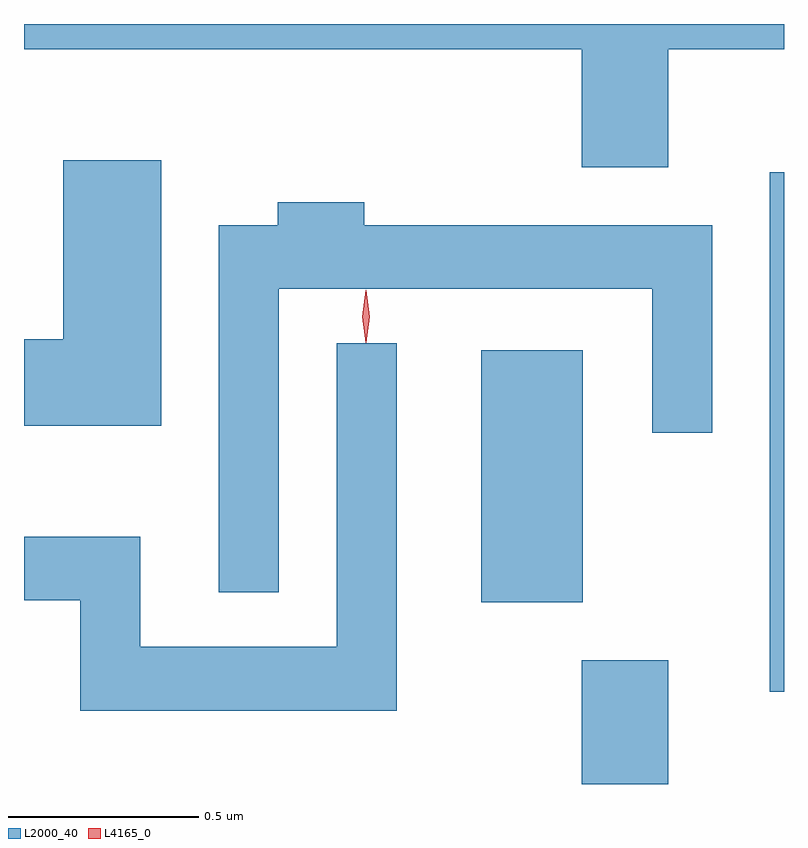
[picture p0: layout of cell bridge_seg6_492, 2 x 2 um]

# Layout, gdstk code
import gdstk
lib = gdstk.Library(unit=1e-6, precision=1e-09)
def R(c, l, rs):  # rectangles x0, y0, x1, y1
    for r in rs: c.add(gdstk.rectangle(r[:2], r[2:], *l))
def P(c, l, *ps):  # polygons
    for p in ps: c.add(gdstk.Polygon(p, *l))
L2000_40 = (2000, 40)
L4165_0 = (4165, 0)

bridge_seg6_492 = lib.new_cell('bridge_seg6_492')
R(bridge_seg6_492, L2000_40, [(702.811,1532.563,703.039,1532.889), (703.306,1532.806,703.343,1534.173), (702.546,1533.041,702.814,1533.704)])
P(bridge_seg6_492, L2000_40, [(703.039,1534.496),(703.343,1534.496),(703.343,1534.563),(701.343,1534.563),(701.343,1534.496),(702.811,1534.496),(702.811,1534.186),(703.039,1534.186)],
  [(701.704,1534.204),(701.446,1534.204),(701.446,1533.734),(701.343,1533.734),(701.343,1533.506),(701.704,1533.506)],
  [(702.014,1533.866),(702.996,1533.866),(702.996,1533.488),(703.154,1533.488),(703.154,1534.034),(702.239,1534.034),(702.239,1534.094),(702.011,1534.094),(702.011,1534.034),(701.856,1534.034),(701.856,1533.068),(702.014,1533.068)],
  [(702.324,1533.723),(702.166,1533.723),(702.166,1532.924),(701.649,1532.924),(701.649,1533.214),(701.343,1533.214),(701.343,1533.046),(701.491,1533.046),(701.491,1532.756),(702.324,1532.756)])
P(bridge_seg6_492, L4165_0, [(702.242,1533.724),(702.233,1533.793),(702.242,1533.862),(702.243,1533.863),(702.244,1533.862),(702.253,1533.793),(702.244,1533.724),(702.243,1533.724)])

lib.write_gds('bridge_seg6_492.gds')
